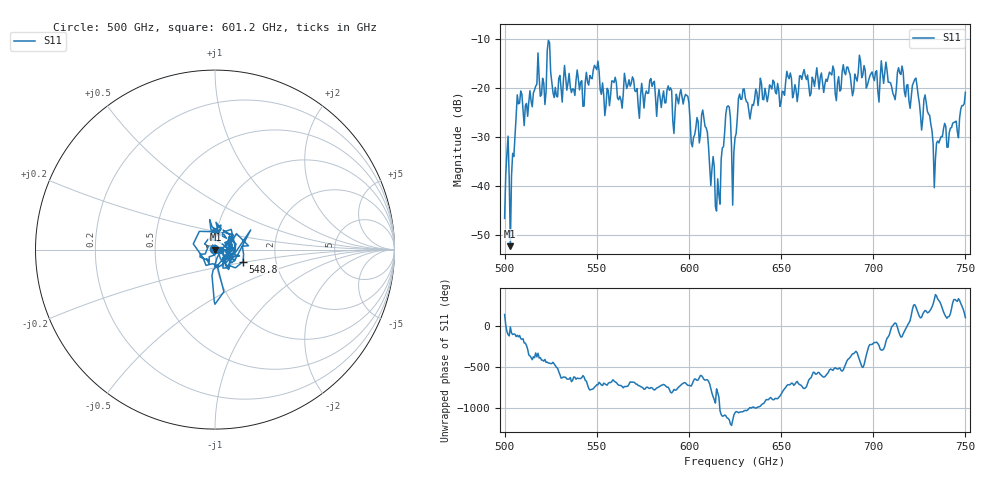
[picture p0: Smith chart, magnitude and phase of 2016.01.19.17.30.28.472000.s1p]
!Created with skrf (http://scikit-rf.org).
# GHz S RI R 50.0
!freq ReS11 ImS11
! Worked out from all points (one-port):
!   401 points, 500 GHz to 750 GHz, reference 50 ohm
!   lowest |S11| = -52.2 dB at 503.1 GHz (marker M1), VSWR 1.00, Z = 50.2 - j0.0525 ohm
!   |S11| at or under -10 dB: start of sweep to end of sweep
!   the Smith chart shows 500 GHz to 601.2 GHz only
!   S11 on the Smith chart (normalised r, x): 500 GHz: 0.99, +0.01; 548.8 GHz: 1.36, -0.19; 601.2 GHz: 1.06, -0.01
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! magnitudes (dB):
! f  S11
! 500 GHz  -46.6
! 503.1 GHz  -52.2
! 508.1 GHz  -23.1
! 521.2 GHz  -19.0
! 524.4 GHz  -10.8
! 527.5 GHz  -19.9
! 531.2 GHz  -22.9
! 541.9 GHz  -18.5
! 548.8 GHz  -15.4
! 562.5 GHz  -21.7
! 568.8 GHz  -19.0
! 593.8 GHz  -22.2
! 598.8 GHz  -21.5
! 601.2 GHz  -31.2
! 608.1 GHz  -26.1
! 615.6 GHz  -38.5
! 620.6 GHz  -23.9
! 625 GHz  -30.2
! 628.8 GHz  -22.3
! 656.2 GHz  -22.0
! 687.5 GHz  -17.4
! 705.6 GHz  -19.1
! 711.2 GHz  -21.6
! 715 GHz  -17.3
! 718.8 GHz  -19.3
! 728.8 GHz  -23.0
! 733.8 GHz  -34.4
! 750 GHz  -20.9
